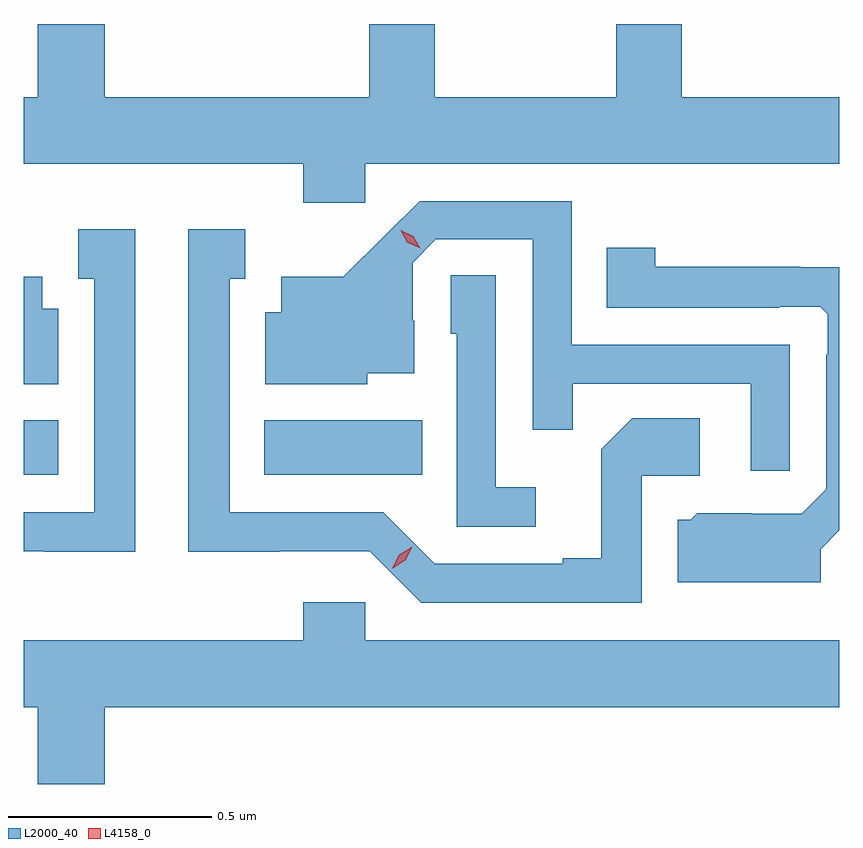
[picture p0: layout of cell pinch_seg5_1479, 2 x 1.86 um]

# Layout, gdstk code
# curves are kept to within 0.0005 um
import gdstk
lib = gdstk.Library(unit=1e-6, precision=1e-09)
def R(c, l, rs):  # rectangles x0, y0, x1, y1
    for r in rs: c.add(gdstk.rectangle(r[:2], r[2:], *l))
def P(c, l, *ps):  # polygons
    for p in ps: c.add(gdstk.Polygon(p, *l))
L2000_40 = (2000, 40)
L4158_0 = (4158, 0)

pinch_seg5_1479 = lib.new_cell('pinch_seg5_1479')
R(pinch_seg5_1479, L2000_40, [(117.021,905.282,117.106,905.416), (117.611,905.282,117.998,905.416)])
P(pinch_seg5_1479, L2000_40, [(117.858,906.044),(119.021,906.044),(119.021,906.208),(118.634,906.208),(118.634,906.387),(118.474,906.387),(118.474,906.208),(118.029,906.208),(118.029,906.387),(117.869,906.387),(117.869,906.208),(117.22,906.208),(117.22,906.387),(117.056,906.387),(117.056,906.208),(117.021,906.208),(117.021,906.044),(117.707,906.044),(117.707,905.949),(117.858,905.949)],
  [(118.899,905.601),(118.365,905.601),(118.365,905.952),(117.992,905.952),(117.805,905.767),(117.653,905.767),(117.653,905.68),(117.614,905.68),(117.614,905.504),(117.864,905.504),(117.864,905.531),(117.979,905.531),(117.979,905.66),(117.975,905.66),(117.975,905.802),(118.032,905.859),(118.269,905.859),(118.269,905.392),(118.367,905.392),(118.367,905.505),(118.803,905.505),(118.803,905.292),(118.899,905.292)],
  [(118.536,905.28),(118.678,905.28),(118.678,905.42),(118.513,905.42),(118.437,905.344),(118.437,905.077),(118.343,905.077),(118.343,905.064),(118.029,905.064),(117.903,905.19),(117.526,905.19),(117.526,905.763),(117.565,905.763),(117.565,905.884),(117.425,905.884),(117.425,905.093),(117.648,905.093),(117.648,905.094),(117.87,905.094),(117.996,904.968),(118.536,904.968)],
  [(117.295,905.884),(117.155,905.884),(117.155,905.763),(117.194,905.763),(117.194,905.19),(117.021,905.19),(117.021,905.094),(117.072,905.094),(117.072,905.093),(117.295,905.093)],
  [(118.975,905.1),(119.021,905.146),(119.021,905.791),(118.925,905.791),(118.925,905.792),(118.569,905.792),(118.569,905.839),(118.45,905.839),(118.45,905.691),(118.874,905.691),(118.874,905.694),(118.974,905.694),(118.992,905.676),(118.992,905.576),(118.989,905.576),(118.989,905.247),(118.929,905.187),(118.806,905.187),(118.806,905.188),(118.672,905.188),(118.656,905.172),(118.625,905.172),(118.625,905.018),(118.975,905.018)],
  [(118.276,905.251),(118.179,905.251),(118.179,905.771),(118.068,905.771),(118.068,905.628),(118.083,905.628),(118.083,905.154),(118.276,905.154)],
  [(117.106,905.689),(117.067,905.689),(117.067,905.767),(117.021,905.767),(117.021,905.504),(117.106,905.504)],
  [(117.22,904.712),(119.021,904.712),(119.021,904.876),(117.858,904.876),(117.858,904.969),(117.707,904.969),(117.707,904.876),(117.021,904.876),(117.021,904.712),(117.056,904.712),(117.056,904.524),(117.22,904.524)])
P(pinch_seg5_1479, L4158_0, [(117.993,905.837),(117.962,905.852),(117.946,905.882),(117.946,905.882),(117.946,905.882),(117.976,905.867),(117.993,905.837),(117.993,905.837)],
  [(117.925,905.053),(117.925,905.053),(117.942,905.086),(117.974,905.106),(117.974,905.106),(117.974,905.105),(117.957,905.073),(117.926,905.053)])

lib.write_gds('pinch_seg5_1479.gds')
